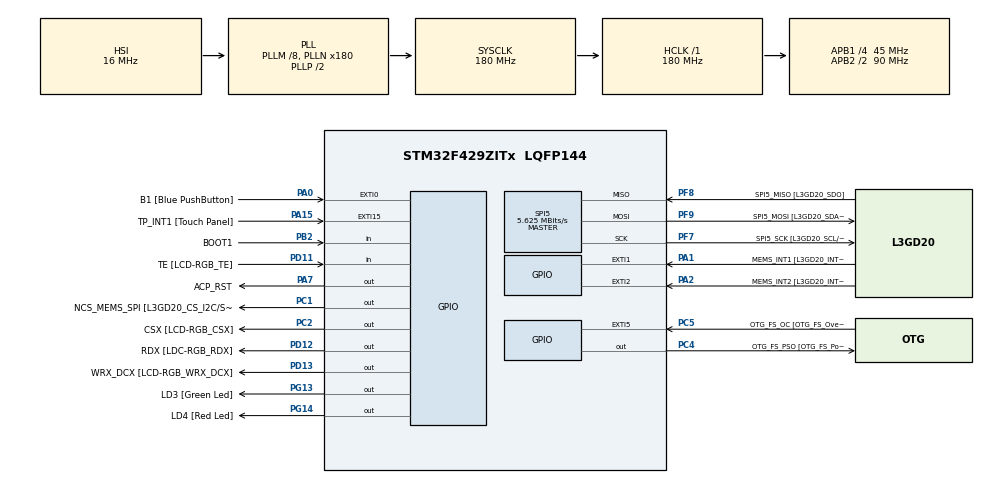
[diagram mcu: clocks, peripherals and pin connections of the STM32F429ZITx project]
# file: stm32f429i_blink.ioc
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Mcu.Family=STM32F4
Mcu.Name=STM32F429ZITx
Mcu.Package=LQFP144
NVIC.EXTI0_IRQn=true\:0\:0\:false\:false\:true\:true\:true\:true
NVIC.PriorityGroup=NVIC_PRIORITYGROUP_0
PA0/WKUP.GPIO_Label=B1 [Blue PushButton]
PA0/WKUP.GPIO_ModeDefaultEXTI=GPIO_MODE_IT_RISING
PA0/WKUP.GPIO_PuPd=GPIO_PULLDOWN
PA0/WKUP.Signal=GPXTI0
PA1.GPIO_Label=MEMS_INT1 [L3GD20_INT1]
PA1.GPIO_ModeDefaultEXTI=GPIO_MODE_EVT_RISING
PA1.GPIO_PuPd=GPIO_NOPULL
PA1.Signal=GPXTI1
PA10.GPIO_Label=STLINK_TX [STM32F103CBT6_PA2]
PA10.Signal=USART1_RX
PA11.GPIO_Label=R4
PA11.GPIO_Mode=GPIO_MODE_AF_PP
PA11.GPIO_PuPd=GPIO_NOPULL
PA11.GPIO_Speed=GPIO_SPEED_FREQ_LOW
PA11.Signal=LTDC_R4
PA12.GPIO_Label=R5
PA12.GPIO_Mode=GPIO_MODE_AF_PP
PA12.GPIO_PuPd=GPIO_NOPULL
PA12.GPIO_Speed=GPIO_SPEED_FREQ_LOW
PA12.Signal=LTDC_R5
PA13.GPIO_Label=SWDIO
PA13.Mode=Serial_Wire
PA13.Signal=SYS_JTMS-SWDIO
PA14.GPIO_Label=SWCLK
PA14.Mode=Serial_Wire
PA14.Signal=SYS_JTCK-SWCLK
PA15.GPIO_Label=TP_INT1 [Touch Panel]
PA15.GPIO_ModeDefaultEXTI=GPIO_MODE_EVT_RISING
PA15.GPIO_PuPd=GPIO_NOPULL
PA15.Signal=GPXTI15
PA2.GPIO_Label=MEMS_INT2 [L3GD20_INT2]
PA2.GPIO_ModeDefaultEXTI=GPIO_MODE_EVT_RISING
PA2.GPIO_PuPd=GPIO_NOPULL
PA2.Signal=GPXTI2
PA3.GPIO_Label=B5
PA3.GPIO_Mode=GPIO_MODE_AF_PP
PA3.GPIO_PuPd=GPIO_NOPULL
PA3.GPIO_Speed=GPIO_SPEED_FREQ_LOW
PA3.Signal=LTDC_B5
PA4.GPIO_Label=VSYNC
PA4.GPIO_Mode=GPIO_MODE_AF_PP
PA4.GPIO_PuPd=GPIO_NOPULL
PA4.GPIO_Speed=GPIO_SPEED_FREQ_LOW
PA4.Signal=LTDC_VSYNC
PA6.GPIO_Label=G2
PA6.GPIO_Mode=GPIO_MODE_AF_PP
PA6.GPIO_PuPd=GPIO_NOPULL
PA6.GPIO_Speed=GPIO_SPEED_FREQ_LOW
PA6.Signal=LTDC_G2
PA7.GPIO_Label=ACP_RST
PA7.GPIO_Mode=GPIO_MODE_OUTPUT_PP
PA7.GPIO_PuPd=GPIO_NOPULL
PA7.GPIO_Speed=GPIO_SPEED_FREQ_LOW
PA7.Signal=GPIO_Output
PA8.GPIO_Label=I2C3_SCL [ACP/RF_SCL]
PA8.GPIO_Mode=GPIO_MODE_AF_OD
PA8.GPIO_PuPd=GPIO_NOPULL
PA8.GPIO_Speed=GPIO_SPEED_FREQ_LOW
PA8.Signal=I2C3_SCL
PA9.GPIO_Label=STLINK_RX [STM32F103CBT6_PA3]
PA9.Signal=USART1_TX
PB0.GPIO_Label=R3
PB0.GPIO_Mode=GPIO_MODE_AF_PP
PB0.GPIO_PuPd=GPIO_NOPULL
PB0.GPIO_Speed=GPIO_SPEED_FREQ_LOW
PB0.Signal=LTDC_R3
PB1.GPIO_Label=R6
PB1.GPIO_Mode=GPIO_MODE_AF_PP
PB1.GPIO_PuPd=GPIO_NOPULL
PB1.GPIO_Speed=GPIO_SPEED_FREQ_LOW
PB1.Signal=LTDC_R6
PB10.GPIO_Label=G4
PB10.GPIO_Mode=GPIO_MODE_AF_PP
PB10.GPIO_PuPd=GPIO_NOPULL
PB10.GPIO_Speed=GPIO_SPEED_FREQ_LOW
PB10.Signal=LTDC_G4
PB11.GPIO_Label=G5
PB11.GPIO_Mode=GPIO_MODE_AF_PP
PB11.GPIO_PuPd=GPIO_NOPULL
PB11.GPIO_Speed=GPIO_SPEED_FREQ_LOW
PB11.Signal=LTDC_G5
PB12.GPIO_Label=OTG_HS_ID
PB12.GPIO_Mode=GPIO_MODE_AF_PP
PB12.GPIO_PuPd=GPIO_NOPULL
PB12.GPIO_Speed=GPIO_SPEED_FREQ_LOW
PB12.Signal=USB_OTG_HS_ID
PB13.GPIO_Label=VBUS_HS
PB13.GPIO_Mode=GPIO_MODE_INPUT
PB13.GPIO_PuPd=GPIO_NOPULL
PB13.Signal=USB_OTG_HS_VBUS
PB14.GPIO_Label=OTG_HS_DM
PB14.GPIO_Mode=GPIO_MODE_AF_PP
PB14.GPIO_PuPd=GPIO_NOPULL
PB14.GPIO_Speed=GPIO_SPEED_FREQ_LOW
PB14.Signal=USB_OTG_HS_DM
PB15.GPIO_Label=OTG_HS_DP
PB15.GPIO_Mode=GPIO_MODE_AF_PP
PB15.GPIO_PuPd=GPIO_NOPULL
PB15.GPIO_Speed=GPIO_SPEED_FREQ_LOW
PB15.Signal=USB_OTG_HS_DP
PB2/BOOT1.GPIO_Label=BOOT1
PB2/BOOT1.GPIO_Mode=GPIO_MODE_INPUT
PB2/BOOT1.GPIO_PuPd=GPIO_NOPULL
PB2/BOOT1.Signal=GPIO_Input
PB5.GPIO_Label=SDCKE1
PB5.GPIO_Mode=GPIO_MODE_AF_PP
PB5.GPIO_PuPd=GPIO_NOPULL
PB5.GPIO_Speed=GPIO_SPEED_FREQ_VERY_HIGH
PB5.Signal=FMC_SDCKE1
PB6.GPIO_Label=SDNE1 [SDRAM_CS]
PB6.GPIO_Mode=GPIO_MODE_AF_PP
PB6.GPIO_PuPd=GPIO_NOPULL
PB6.GPIO_Speed=GPIO_SPEED_FREQ_VERY_HIGH
PB6.Signal=FMC_SDNE1
PB8.GPIO_Label=B6
PB8.GPIO_Mode=GPIO_MODE_AF_PP
PB8.GPIO_PuPd=GPIO_NOPULL
PB8.GPIO_Speed=GPIO_SPEED_FREQ_LOW
PB8.Signal=LTDC_B6
PB9.GPIO_Label=B7
PB9.GPIO_Mode=GPIO_MODE_AF_PP
PB9.GPIO_PuPd=GPIO_NOPULL
PB9.GPIO_Speed=GPIO_SPEED_FREQ_LOW
PB9.Signal=LTDC_B7
PC0.GPIO_Label=SDNWE
PC0.GPIO_Mode=GPIO_MODE_AF_PP
PC0.GPIO_PuPd=GPIO_NOPULL
PC0.GPIO_Speed=GPIO_SPEED_FREQ_VERY_HIGH
PC0.Signal=FMC_SDNWE
PC1.GPIO_Label=NCS_MEMS_SPI [L3GD20_CS_I2C/SPI]
PC1.GPIO_Mode=GPIO_MODE_OUTPUT_PP
PC1.GPIO_PuPd=GPIO_NOPULL
PC1.GPIO_Speed=GPIO_SPEED_FREQ_LOW
PC1.Signal=GPIO_Output
PC10.GPIO_Label=R2
PC10.GPIO_Mode=GPIO_MODE_AF_PP
PC10.GPIO_PuPd=GPIO_NOPULL
PC10.GPIO_Speed=GPIO_SPEED_FREQ_LOW
PC10.Signal=LTDC_R2
PC14/OSC32_IN.GPIO_Label=PC14-OSC32_IN
PC14/OSC32_IN.Signal=RCC_OSC32_IN
PC15/OSC32_OUT.GPIO_Label=PC15-OSC32_OUT
PC15/OSC32_OUT.Signal=RCC_OSC32_OUT
PC2.GPIO_Label=CSX [LCD-RGB_CSX]
PC2.GPIO_Mode=GPIO_MODE_OUTPUT_PP
PC2.GPIO_PuPd=GPIO_NOPULL
PC2.GPIO_Speed=GPIO_SPEED_FREQ_LOW
PC2.Signal=GPIO_Output
PC4.GPIO_Label=OTG_FS_PSO [OTG_FS_PowerSwitchOn]
PC4.GPIO_Mode=GPIO_MODE_OUTPUT_PP
PC4.GPIO_PuPd=GPIO_NOPULL
PC4.GPIO_Speed=GPIO_SPEED_FREQ_LOW
PC4.Signal=GPIO_Output
PC5.GPIO_Label=OTG_FS_OC [OTG_FS_OverCurrent]
PC5.GPIO_ModeDefaultEXTI=GPIO_MODE_EVT_RISING
PC5.Signal=GPXTI5
PC6.GPIO_Label=HSYNC
PC6.GPIO_Mode=GPIO_MODE_AF_PP
PC6.GPIO_PuPd=GPIO_NOPULL
PC6.GPIO_Speed=GPIO_SPEED_FREQ_LOW
PC6.Signal=LTDC_HSYNC
PC7.GPIO_Label=G6
PC7.GPIO_Mode=GPIO_MODE_AF_PP
PC7.GPIO_PuPd=GPIO_NOPULL
PC7.GPIO_Speed=GPIO_SPEED_FREQ_LOW
PC7.Signal=LTDC_G6
PC9.GPIO_Label=I2C3_SDA [ACP/RF_SDA]
PC9.GPIO_Mode=GPIO_MODE_AF_OD
PC9.GPIO_PuPd=GPIO_NOPULL
PC9.GPIO_Speed=GPIO_SPEED_FREQ_LOW
PC9.Signal=I2C3_SDA
PD0.GPIO_Label=D2
PD0.GPIO_Mode=GPIO_MODE_AF_PP
PD0.GPIO_PuPd=GPIO_NOPULL
PD0.GPIO_Speed=GPIO_SPEED_FREQ_VERY_HIGH
PD0.Signal=FMC_D2_DA2
PD1.GPIO_Label=D3
PD1.GPIO_Mode=GPIO_MODE_AF_PP
PD1.GPIO_PuPd=GPIO_NOPULL
PD1.GPIO_Speed=GPIO_SPEED_FREQ_VERY_HIGH
PD1.Signal=FMC_D3_DA3
PD10.GPIO_Label=D15
PD10.GPIO_Mode=GPIO_MODE_AF_PP
PD10.GPIO_PuPd=GPIO_NOPULL
PD10.GPIO_Speed=GPIO_SPEED_FREQ_VERY_HIGH
PD10.Signal=FMC_D15_DA15
PD11.GPIO_Label=TE [LCD-RGB_TE]
PD11.GPIO_Mode=GPIO_MODE_INPUT
PD11.GPIO_PuPd=GPIO_NOPULL
PD11.Signal=GPIO_Input
PD12.GPIO_Label=RDX [LDC-RGB_RDX]
PD12.GPIO_Mode=GPIO_MODE_OUTPUT_PP
PD12.GPIO_PuPd=GPIO_NOPULL
PD12.GPIO_Speed=GPIO_SPEED_FREQ_LOW
PD12.Signal=GPIO_Output
PD13.GPIO_Label=WRX_DCX [LCD-RGB_WRX_DCX]
PD13.GPIO_Mode=GPIO_MODE_OUTPUT_PP
PD13.GPIO_PuPd=GPIO_NOPULL
PD13.GPIO_Speed=GPIO_SPEED_FREQ_LOW
PD13.Signal=GPIO_Output
PD14.GPIO_Label=D0
PD14.GPIO_Mode=GPIO_MODE_AF_PP
PD14.GPIO_PuPd=GPIO_NOPULL
PD14.GPIO_Speed=GPIO_SPEED_FREQ_VERY_HIGH
PD14.Signal=FMC_D0_DA0
PD15.GPIO_Label=D1
PD15.GPIO_Mode=GPIO_MODE_AF_PP
PD15.GPIO_PuPd=GPIO_NOPULL
PD15.GPIO_Speed=GPIO_SPEED_FREQ_VERY_HIGH
PD15.Signal=FMC_D1_DA1
PD3.GPIO_Label=G7
PD3.GPIO_Mode=GPIO_MODE_AF_PP
PD3.GPIO_PuPd=GPIO_NOPULL
PD3.GPIO_Speed=GPIO_SPEED_FREQ_LOW
PD3.Signal=LTDC_G7
PD6.GPIO_Label=B2
PD6.GPIO_Mode=GPIO_MODE_AF_PP
PD6.GPIO_PuPd=GPIO_NOPULL
PD6.GPIO_Speed=GPIO_SPEED_FREQ_LOW
PD6.Signal=LTDC_B2
PD8.GPIO_Label=D13
PD8.GPIO_Mode=GPIO_MODE_AF_PP
PD8.GPIO_PuPd=GPIO_NOPULL
PD8.GPIO_Speed=GPIO_SPEED_FREQ_VERY_HIGH
PD8.Signal=FMC_D13_DA13
PD9.GPIO_Label=D14
PD9.GPIO_Mode=GPIO_MODE_AF_PP
PD9.GPIO_PuPd=GPIO_NOPULL
PD9.GPIO_Speed=GPIO_SPEED_FREQ_VERY_HIGH
PD9.Signal=FMC_D14_DA14
PE0.GPIO_Label=NBL0 [SDRAM_LDQM]
PE0.GPIO_Mode=GPIO_MODE_AF_PP
PE0.GPIO_PuPd=GPIO_NOPULL
PE0.GPIO_Speed=GPIO_SPEED_FREQ_VERY_HIGH
PE0.Signal=FMC_NBL0
PE1.GPIO_Label=NBL1 [SDRAM_UDQM]
PE1.GPIO_Mode=GPIO_MODE_AF_PP
PE1.GPIO_PuPd=GPIO_NOPULL
PE1.GPIO_Speed=GPIO_SPEED_FREQ_VERY_HIGH
PE1.Signal=FMC_NBL1
PE10.GPIO_Label=D7
PE10.GPIO_Mode=GPIO_MODE_AF_PP
PE10.GPIO_PuPd=GPIO_NOPULL
PE10.GPIO_Speed=GPIO_SPEED_FREQ_VERY_HIGH
PE10.Signal=FMC_D7_DA7
PE11.GPIO_Label=D8
PE11.GPIO_Mode=GPIO_MODE_AF_PP
PE11.GPIO_PuPd=GPIO_NOPULL
PE11.GPIO_Speed=GPIO_SPEED_FREQ_VERY_HIGH
PE11.Signal=FMC_D8_DA8
PE12.GPIO_Label=D9
PE12.GPIO_Mode=GPIO_MODE_AF_PP
PE12.GPIO_PuPd=GPIO_NOPULL
PE12.GPIO_Speed=GPIO_SPEED_FREQ_VERY_HIGH
PE12.Signal=FMC_D9_DA9
PE13.GPIO_Label=D10
PE13.GPIO_Mode=GPIO_MODE_AF_PP
PE13.GPIO_PuPd=GPIO_NOPULL
PE13.GPIO_Speed=GPIO_SPEED_FREQ_VERY_HIGH
PE13.Signal=FMC_D10_DA10
PE14.GPIO_Label=D11
PE14.GPIO_Mode=GPIO_MODE_AF_PP
PE14.GPIO_PuPd=GPIO_NOPULL
PE14.GPIO_Speed=GPIO_SPEED_FREQ_VERY_HIGH
PE14.Signal=FMC_D11_DA11
PE15.GPIO_Label=D12
PE15.GPIO_Mode=GPIO_MODE_AF_PP
PE15.GPIO_PuPd=GPIO_NOPULL
PE15.GPIO_Speed=GPIO_SPEED_FREQ_VERY_HIGH
PE15.Signal=FMC_D12_DA12
PE7.GPIO_Label=D4
PE7.GPIO_Mode=GPIO_MODE_AF_PP
PE7.GPIO_PuPd=GPIO_NOPULL
PE7.GPIO_Speed=GPIO_SPEED_FREQ_VERY_HIGH
PE7.Signal=FMC_D4_DA4
PE8.GPIO_Label=D5
PE8.GPIO_Mode=GPIO_MODE_AF_PP
PE8.GPIO_PuPd=GPIO_NOPULL
PE8.GPIO_Speed=GPIO_SPEED_FREQ_VERY_HIGH
PE8.Signal=FMC_D5_DA5
PE9.GPIO_Label=D6
PE9.GPIO_Mode=GPIO_MODE_AF_PP
PE9.GPIO_PuPd=GPIO_NOPULL
PE9.GPIO_Speed=GPIO_SPEED_FREQ_VERY_HIGH
PE9.Signal=FMC_D6_DA6
PF0.GPIO_Label=A0
PF0.GPIO_Mode=GPIO_MODE_AF_PP
PF0.GPIO_PuPd=GPIO_NOPULL
PF0.GPIO_Speed=GPIO_SPEED_FREQ_VERY_HIGH
PF0.Signal=FMC_A0
PF1.GPIO_Label=A1
PF1.GPIO_Mode=GPIO_MODE_AF_PP
PF1.GPIO_PuPd=GPIO_NOPULL
PF1.GPIO_Speed=GPIO_SPEED_FREQ_VERY_HIGH
PF1.Signal=FMC_A1
PF10.GPIO_Label=ENABLE [LCD-RGB_ENABLE]
PF10.GPIO_Mode=GPIO_MODE_AF_PP
PF10.GPIO_PuPd=GPIO_NOPULL
PF10.GPIO_Speed=GPIO_SPEED_FREQ_LOW
PF10.Signal=LTDC_DE
PF11.GPIO_Label=SDNRAS
PF11.GPIO_Mode=GPIO_MODE_AF_PP
PF11.GPIO_PuPd=GPIO_NOPULL
PF11.GPIO_Speed=GPIO_SPEED_FREQ_VERY_HIGH
PF11.Signal=FMC_SDNRAS
PF12.GPIO_Label=A6
PF12.GPIO_Mode=GPIO_MODE_AF_PP
PF12.GPIO_PuPd=GPIO_NOPULL
PF12.GPIO_Speed=GPIO_SPEED_FREQ_VERY_HIGH
PF12.Signal=FMC_A6
PF13.GPIO_Label=A7
PF13.GPIO_Mode=GPIO_MODE_AF_PP
PF13.GPIO_PuPd=GPIO_NOPULL
PF13.GPIO_Speed=GPIO_SPEED_FREQ_VERY_HIGH
PF13.Signal=FMC_A7
PF14.GPIO_Label=A8
PF14.GPIO_Mode=GPIO_MODE_AF_PP
PF14.GPIO_PuPd=GPIO_NOPULL
PF14.GPIO_Speed=GPIO_SPEED_FREQ_VERY_HIGH
PF14.Signal=FMC_A8
PF15.GPIO_Label=A9
PF15.GPIO_Mode=GPIO_MODE_AF_PP
PF15.GPIO_PuPd=GPIO_NOPULL
PF15.GPIO_Speed=GPIO_SPEED_FREQ_VERY_HIGH
PF15.Signal=FMC_A9
PF2.GPIO_Label=A2
PF2.GPIO_Mode=GPIO_MODE_AF_PP
PF2.GPIO_PuPd=GPIO_NOPULL
PF2.GPIO_Speed=GPIO_SPEED_FREQ_VERY_HIGH
PF2.Signal=FMC_A2
PF3.GPIO_Label=A3
PF3.GPIO_Mode=GPIO_MODE_AF_PP
PF3.GPIO_PuPd=GPIO_NOPULL
PF3.GPIO_Speed=GPIO_SPEED_FREQ_VERY_HIGH
PF3.Signal=FMC_A3
PF4.GPIO_Label=A4
PF4.GPIO_Mode=GPIO_MODE_AF_PP
PF4.GPIO_PuPd=GPIO_NOPULL
PF4.GPIO_Speed=GPIO_SPEED_FREQ_VERY_HIGH
PF4.Signal=FMC_A4
PF5.GPIO_Label=A5
PF5.GPIO_Mode=GPIO_MODE_AF_PP
PF5.GPIO_PuPd=GPIO_NOPULL
PF5.GPIO_Speed=GPIO_SPEED_FREQ_VERY_HIGH
PF5.Signal=FMC_A5
PF7.GPIO_Label=SPI5_SCK [L3GD20_SCL/SPC]
PF7.GPIO_Mode=GPIO_MODE_AF_PP
PF7.GPIO_PuPd=GPIO_NOPULL
PF7.GPIO_Speed=GPIO_SPEED_FREQ_LOW
PF7.Mode=Full_Duplex_Master
PF7.Signal=SPI5_SCK
PF8.GPIO_Label=SPI5_MISO [L3GD20_SDO]
PF8.GPIO_Mode=GPIO_MODE_AF_PP
PF8.GPIO_PuPd=GPIO_NOPULL
PF8.GPIO_Speed=GPIO_SPEED_FREQ_LOW
PF8.Mode=Full_Duplex_Master
PF8.Signal=SPI5_MISO
PF9.GPIO_Label=SPI5_MOSI [L3GD20_SDA/SDI/SDO]
PF9.GPIO_Mode=GPIO_MODE_AF_PP
PF9.GPIO_PuPd=GPIO_NOPULL
PF9.GPIO_Speed=GPIO_SPEED_FREQ_LOW
PF9.Mode=Full_Duplex_Master
PF9.Signal=SPI5_MOSI
PG0.GPIO_Label=A10
PG0.GPIO_Mode=GPIO_MODE_AF_PP
PG0.GPIO_PuPd=GPIO_NOPULL
PG0.GPIO_Speed=GPIO_SPEED_FREQ_VERY_HIGH
PG0.Signal=FMC_A10
PG1.GPIO_Label=A11
PG1.GPIO_Mode=GPIO_MODE_AF_PP
PG1.GPIO_PuPd=GPIO_NOPULL
PG1.GPIO_Speed=GPIO_SPEED_FREQ_VERY_HIGH
PG1.Signal=FMC_A11
PG10.GPIO_Label=G3
PG10.GPIO_Mode=GPIO_MODE_AF_PP
PG10.GPIO_PuPd=GPIO_NOPULL
PG10.GPIO_Speed=GPIO_SPEED_FREQ_LOW
PG10.Signal=LTDC_G3
PG11.GPIO_Label=B3
PG11.GPIO_Mode=GPIO_MODE_AF_PP
PG11.GPIO_PuPd=GPIO_NOPULL
PG11.GPIO_Speed=GPIO_SPEED_FREQ_LOW
PG11.Signal=LTDC_B3
PG12.GPIO_Label=B4
PG12.GPIO_Mode=GPIO_MODE_AF_PP
PG12.GPIO_PuPd=GPIO_NOPULL
PG12.GPIO_Speed=GPIO_SPEED_FREQ_LOW
PG12.Signal=LTDC_B4
PG13.GPIO_Label=LD3 [Green Led]
PG13.GPIO_Mode=GPIO_MODE_OUTPUT_PP
PG13.GPIO_PuPd=GPIO_NOPULL
PG13.GPIO_Speed=GPIO_SPEED_FREQ_LOW
PG13.PinState=GPIO_PIN_RESET
PG13.Signal=GPIO_Output
PG14.GPIO_Label=LD4 [Red Led]
PG14.GPIO_Mode=GPIO_MODE_OUTPUT_PP
PG14.GPIO_PuPd=GPIO_NOPULL
PG14.GPIO_Speed=GPIO_SPEED_FREQ_LOW
PG14.Signal=GPIO_Output
PG15.GPIO_Label=SDNCAS
PG15.GPIO_Mode=GPIO_MODE_AF_PP
PG15.GPIO_PuPd=GPIO_NOPULL
PG15.GPIO_Speed=GPIO_SPEED_FREQ_VERY_HIGH
PG15.Signal=FMC_SDNCAS
PG4.GPIO_Label=BA0
PG4.GPIO_Mode=GPIO_MODE_AF_PP
PG4.GPIO_PuPd=GPIO_NOPULL
PG4.GPIO_Speed=GPIO_SPEED_FREQ_VERY_HIGH
PG4.Signal=FMC_A14_BA0
PG5.GPIO_Label=BA1
PG5.GPIO_Mode=GPIO_MODE_AF_PP
PG5.GPIO_PuPd=GPIO_NOPULL
PG5.GPIO_Speed=GPIO_SPEED_FREQ_VERY_HIGH
PG5.Signal=FMC_A15_BA1
PG6.GPIO_Label=R7
PG6.GPIO_Mode=GPIO_MODE_AF_PP
PG6.GPIO_PuPd=GPIO_NOPULL
PG6.GPIO_Speed=GPIO_SPEED_FREQ_LOW
PG6.Signal=LTDC_R7
PG7.GPIO_Label=DOTCLK [LCT-RGB_DOTCLK]
PG7.GPIO_Mode=GPIO_MODE_AF_PP
PG7.GPIO_PuPd=GPIO_NOPULL
PG7.GPIO_Speed=GPIO_SPEED_FREQ_LOW
PG7.Signal=LTDC_CLK
PG8.GPIO_Label=SDCLK
PG8.GPIO_Mode=GPIO_MODE_AF_PP
PG8.GPIO_PuPd=GPIO_NOPULL
PG8.GPIO_Speed=GPIO_SPEED_FREQ_VERY_HIGH
PG8.Signal=FMC_SDCLK
PH0/OSC_IN.GPIO_Label=PH0-OSC_IN
PH0/OSC_IN.Mode=HSE-External-Oscillator
PH0/OSC_IN.Signal=RCC_OSC_IN
PH1/OSC_OUT.GPIO_Label=PH1-OSC_OUT
PH1/OSC_OUT.Mode=HSE-External-Oscillator
PH1/OSC_OUT.Signal=RCC_OSC_OUT
ProjectManager.HeapSize=0x200
ProjectManager.StackSize=0x400
ProjectManager.TargetToolchain=STM32CubeIDE
RCC.48MHZClocksFreq_Value=51428571.428571425
RCC.AHBFreq_Value=180000000
RCC.APB1CLKDivider=RCC_HCLK_DIV4
RCC.APB1Freq_Value=45000000
RCC.APB1TimFreq_Value=90000000
RCC.APB2CLKDivider=RCC_HCLK_DIV2
RCC.APB2Freq_Value=90000000
RCC.APB2TimFreq_Value=180000000
RCC.CortexFreq_Value=180000000
RCC.HCLKFreq_Value=180000000
RCC.HSE_VALUE=8000000
RCC.HSI_VALUE=16000000
RCC.LSE_VALUE=32768
RCC.PLLM=8
RCC.PLLN=180
RCC.PLLQ=7
RCC.SYSCLKFreq_VALUE=180000000
RCC.SYSCLKSource=RCC_SYSCLKSOURCE_PLLCLK
RCC.VCOOutputFreq_Value=360000000
SH.FMC_A0.0=FMC_A0
SH.FMC_A1.0=FMC_A1
SH.FMC_A10.0=FMC_A10
SH.FMC_A11.0=FMC_A11
SH.FMC_A14_BA0.0=FMC_BA0
SH.FMC_A15_BA1.0=FMC_BA1
SH.FMC_A2.0=FMC_A2
SH.FMC_A3.0=FMC_A3
SH.FMC_A4.0=FMC_A4
SH.FMC_A5.0=FMC_A5
SH.FMC_A6.0=FMC_A6
SH.FMC_A7.0=FMC_A7
SH.FMC_A8.0=FMC_A8
SH.FMC_A9.0=FMC_A9
SH.FMC_D0_DA0.0=FMC_D0
SH.FMC_D10_DA10.0=FMC_D10
SH.FMC_D11_DA11.0=FMC_D11
SH.FMC_D12_DA12.0=FMC_D12
SH.FMC_D13_DA13.0=FMC_D13
SH.FMC_D14_DA14.0=FMC_D14
SH.FMC_D15_DA15.0=FMC_D15
SH.FMC_D1_DA1.0=FMC_D1
SH.FMC_D2_DA2.0=FMC_D2
SH.FMC_D3_DA3.0=FMC_D3
SH.FMC_D4_DA4.0=FMC_D4
SH.FMC_D5_DA5.0=FMC_D5
SH.FMC_D6_DA6.0=FMC_D6
SH.FMC_D7_DA7.0=FMC_D7
SH.FMC_D8_DA8.0=FMC_D8
SH.FMC_D9_DA9.0=FMC_D9
SH.FMC_NBL0.0=FMC_NBL0
SH.FMC_NBL1.0=FMC_NBL1
SH.FMC_SDCLK.0=FMC_SDCLK
SH.FMC_SDNCAS.0=FMC_SDNCAS
SH.FMC_SDNRAS.0=FMC_SDNRAS
SH.FMC_SDNWE.0=FMC_SDNWE
SPI5.BaudRatePrescaler=SPI_BAUDRATEPRESCALER_16
SPI5.CLKPhase=SPI_PHASE_2EDGE
SPI5.CalculateBaudRate=5.625 MBits/s
SPI5.Direction=SPI_DIRECTION_2LINES
SPI5.Mode=SPI_MODE_MASTER
SPI5.VirtualType=VM_MASTER
board=STM32F429I-DISC1

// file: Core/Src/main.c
/* USER CODE BEGIN Header */
/**
  ******************************************************************************
  * @file           : main.c
  * @brief          : Main program body
  ******************************************************************************
  * @attention
  *
  * Copyright (c) 2025 STMicroelectronics.
  * All rights reserved.
  *
  * This software is licensed under terms that can be found in the LICENSE file
  * in the root directory of this software component.
  * If no LICENSE file comes with this software, it is provided AS-IS.
  *
  ******************************************************************************
  */
/* USER CODE END Header */
#include "main.h"

/* USER CODE BEGIN Includes */
#include <stdio.h>
#include "I3G4250D.h"

/* USER CODE END Includes */

SPI_HandleTypeDef hspi5;

void SystemClock_Config(void);
static void MX_GPIO_Init(void);
static void MX_SPI5_Init(void);

int main(void)
{

  /* MCU Configuration--------------------------------------------------------*/

  /* Reset of all peripherals, Initializes the Flash interface and the Systick. */
  HAL_Init();

  /* Configure the system clock */
  SystemClock_Config();

  /* Initialize all configured peripherals */
  MX_GPIO_Init();
  MX_SPI5_Init();
  /* USER CODE BEGIN 2 */
  if (!I3G4250D_Init(&hspi5, GPIOC, GPIO_PIN_1)) {
    printf("Erreur : I3G4250D non détecté !\n");
    Error_Handler();
  }

  printf("I3G4250D détecté. Configuration en cours...\n");
  I3G4250D_Configure();

  printf("Hello depuis STM32 via ITM/SWO !\n");

  // Vérification WHO_AM_I
  uint8_t whoami = I3G4250D_ReadWhoAmI();
  printf("WHO_AM_I = 0x%02X (attendu 0xD3)\n", whoami);

  // Pour le clignotement LED + lecture gyro
  uint32_t now = 0, last = 0;

  float gx, gy, gz;

  /* USER CODE END 2 */

  /* Infinite loop */
  while (1)
  {

    /* USER CODE BEGIN 3 */
    now = HAL_GetTick();
    if (now - last >= 1000) // Toggle every second
    {
      last = now;
      HAL_GPIO_TogglePin(LD4_GPIO_Port, LD4_Pin);

      I3G4250D_ReadXYZ_dps(&gx, &gy, &gz);
      printf("Gyro [dps] => X: %.2f | Y: %.2f | Z: %.2f\n", gx, gy, gz);
      // printf("Toggled LD4!\n");
    }

  }
  /* USER CODE END 3 */
}

void SystemClock_Config(void)
{
  RCC_OscInitTypeDef RCC_OscInitStruct = {0};
  RCC_ClkInitTypeDef RCC_ClkInitStruct = {0};

  /** Configure the main internal regulator output voltage
  */
  __HAL_RCC_PWR_CLK_ENABLE();
  __HAL_PWR_VOLTAGESCALING_CONFIG(PWR_REGULATOR_VOLTAGE_SCALE1);

  /** Initializes the RCC Oscillators according to the specified parameters
  * in the RCC_OscInitTypeDef structure.
  */
  RCC_OscInitStruct.OscillatorType = RCC_OSCILLATORTYPE_HSI;
  RCC_OscInitStruct.HSIState = RCC_HSI_ON;
  RCC_OscInitStruct.HSICalibrationValue = RCC_HSICALIBRATION_DEFAULT;
  RCC_OscInitStruct.PLL.PLLState = RCC_PLL_ON;
  RCC_OscInitStruct.PLL.PLLSource = RCC_PLLSOURCE_HSI;
  RCC_OscInitStruct.PLL.PLLM = 8;
  RCC_OscInitStruct.PLL.PLLN = 180;
  RCC_OscInitStruct.PLL.PLLP = RCC_PLLP_DIV2;
  RCC_OscInitStruct.PLL.PLLQ = 7;
  if (HAL_RCC_OscConfig(&RCC_OscInitStruct) != HAL_OK)
  {
    Error_Handler();
  }

  /** Activate the Over-Drive mode
  */
  if (HAL_PWREx_EnableOverDrive() != HAL_OK)
  {
    Error_Handler();
  }

  /** Initializes the CPU, AHB and APB buses clocks
  */
  RCC_ClkInitStruct.ClockType = RCC_CLOCKTYPE_HCLK|RCC_CLOCKTYPE_SYSCLK
                              |RCC_CLOCKTYPE_PCLK1|RCC_CLOCKTYPE_PCLK2;
  RCC_ClkInitStruct.SYSCLKSource = RCC_SYSCLKSOURCE_PLLCLK;
  RCC_ClkInitStruct.AHBCLKDivider = RCC_SYSCLK_DIV1;
  RCC_ClkInitStruct.APB1CLKDivider = RCC_HCLK_DIV4;
  RCC_ClkInitStruct.APB2CLKDivider = RCC_HCLK_DIV2;

  if (HAL_RCC_ClockConfig(&RCC_ClkInitStruct, FLASH_LATENCY_5) != HAL_OK)
  {
    Error_Handler();
  }
}

static void MX_SPI5_Init(void)
{

  /* SPI5 parameter configuration*/
  hspi5.Instance = SPI5;
  hspi5.Init.Mode = SPI_MODE_MASTER;
  hspi5.Init.Direction = SPI_DIRECTION_2LINES;
  hspi5.Init.DataSize = SPI_DATASIZE_8BIT;
  hspi5.Init.CLKPolarity = SPI_POLARITY_LOW;
  hspi5.Init.CLKPhase = SPI_PHASE_2EDGE;
  hspi5.Init.NSS = SPI_NSS_SOFT;
  hspi5.Init.BaudRatePrescaler = SPI_BAUDRATEPRESCALER_16;
  hspi5.Init.FirstBit = SPI_FIRSTBIT_MSB;
  hspi5.Init.TIMode = SPI_TIMODE_DISABLE;
  hspi5.Init.CRCCalculation = SPI_CRCCALCULATION_DISABLE;
  hspi5.Init.CRCPolynomial = 10;
  if (HAL_SPI_Init(&hspi5) != HAL_OK)
  {
    Error_Handler();
  }

}

static void MX_GPIO_Init(void)
{
  GPIO_InitTypeDef GPIO_InitStruct = {0};

  /* GPIO Ports Clock Enable */
  __HAL_RCC_GPIOC_CLK_ENABLE();
  __HAL_RCC_GPIOF_CLK_ENABLE();
  __HAL_RCC_GPIOH_CLK_ENABLE();
  __HAL_RCC_GPIOA_CLK_ENABLE();
  __HAL_RCC_GPIOB_CLK_ENABLE();
  __HAL_RCC_GPIOG_CLK_ENABLE();
  __HAL_RCC_GPIOE_CLK_ENABLE();
  __HAL_RCC_GPIOD_CLK_ENABLE();

  /*Configure GPIO pin Output Level */
  HAL_GPIO_WritePin(GPIOC, NCS_MEMS_SPI_Pin|CSX_Pin|OTG_FS_PSO_Pin, GPIO_PIN_RESET);

  /*Configure GPIO pin Output Level */
  HAL_GPIO_WritePin(ACP_RST_GPIO_Port, ACP_RST_Pin, GPIO_PIN_RESET);

  /*Configure GPIO pin Output Level */
  HAL_GPIO_WritePin(GPIOD, RDX_Pin|WRX_DCX_Pin, GPIO_PIN_RESET);

  /*Configure GPIO pin Output Level */
  HAL_GPIO_WritePin(GPIOG, LD3_Pin|LD4_Pin, GPIO_PIN_RESET);

  /*Configure GPIO pins : A0_Pin A1_Pin A2_Pin A3_Pin
                           A4_Pin A5_Pin SDNRAS_Pin A6_Pin
                           A7_Pin A8_Pin A9_Pin */
  GPIO_InitStruct.Pin = A0_Pin|A1_Pin|A2_Pin|A3_Pin
                          |A4_Pin|A5_Pin|SDNRAS_Pin|A6_Pin
                          |A7_Pin|A8_Pin|A9_Pin;
  GPIO_InitStruct.Mode = GPIO_MODE_AF_PP;
  GPIO_InitStruct.Pull = GPIO_NOPULL;
  GPIO_InitStruct.Speed = GPIO_SPEED_FREQ_VERY_HIGH;
  GPIO_InitStruct.Alternate = GPIO_AF12_FMC;
  HAL_GPIO_Init(GPIOF, &GPIO_InitStruct);

  /*Configure GPIO pin : ENABLE_Pin */
  GPIO_InitStruct.Pin = ENABLE_Pin;
  GPIO_InitStruct.Mode = GPIO_MODE_AF_PP;
  GPIO_InitStruct.Pull = GPIO_NOPULL;
  GPIO_InitStruct.Speed = GPIO_SPEED_FREQ_LOW;
  GPIO_InitStruct.Alternate = GPIO_AF14_LTDC;
  HAL_GPIO_Init(ENABLE_GPIO_Port, &GPIO_InitStruct);

  /*Configure GPIO pin : SDNWE_Pin */
  GPIO_InitStruct.Pin = SDNWE_Pin;
  GPIO_InitStruct.Mode = GPIO_MODE_AF_PP;
  GPIO_InitStruct.Pull = GPIO_NOPULL;
  GPIO_InitStruct.Speed = GPIO_SPEED_FREQ_VERY_HIGH;
  GPIO_InitStruct.Alternate = GPIO_AF12_FMC;
  HAL_GPIO_Init(SDNWE_GPIO_Port, &GPIO_InitStruct);

  /*Configure GPIO pins : NCS_MEMS_SPI_Pin CSX_Pin OTG_FS_PSO_Pin */
  GPIO_InitStruct.Pin = NCS_MEMS_SPI_Pin|CSX_Pin|OTG_FS_PSO_Pin;
  GPIO_InitStruct.Mode = GPIO_MODE_OUTPUT_PP;
  GPIO_InitStruct.Pull = GPIO_NOPULL;
  GPIO_InitStruct.Speed = GPIO_SPEED_FREQ_LOW;
  HAL_GPIO_Init(GPIOC, &GPIO_InitStruct);

  /*Configure GPIO pin : B1_Pin */
  GPIO_InitStruct.Pin = B1_Pin;
  GPIO_InitStruct.Mode = GPIO_MODE_IT_RISING;
  GPIO_InitStruct.Pull = GPIO_PULLDOWN;
  HAL_GPIO_Init(B1_GPIO_Port, &GPIO_InitStruct);

  /*Configure GPIO pins : MEMS_INT1_Pin MEMS_INT2_Pin TP_INT1_Pin */
  GPIO_InitStruct.Pin = MEMS_INT1_Pin|MEMS_INT2_Pin|TP_INT1_Pin;
  GPIO_InitStruct.Mode = GPIO_MODE_EVT_RISING;
  GPIO_InitStruct.Pull = GPIO_NOPULL;
  HAL_GPIO_Init(GPIOA, &GPIO_InitStruct);

  /*Configure GPIO pins : B5_Pin VSYNC_Pin G2_Pin R4_Pin
                           R5_Pin */
  GPIO_InitStruct.Pin = B5_Pin|VSYNC_Pin|G2_Pin|R4_Pin
                          |R5_Pin;
  GPIO_InitStruct.Mode = GPIO_MODE_AF_PP;
  GPIO_InitStruct.Pull = GPIO_NOPULL;
  GPIO_InitStruct.Speed = GPIO_SPEED_FREQ_LOW;
  GPIO_InitStruct.Alternate = GPIO_AF14_LTDC;
  HAL_GPIO_Init(GPIOA, &GPIO_InitStruct);

  /*Configure GPIO pin : ACP_RST_Pin */
  GPIO_InitStruct.Pin = ACP_RST_Pin;
  GPIO_InitStruct.Mode = GPIO_MODE_OUTPUT_PP;
  GPIO_InitStruct.Pull = GPIO_NOPULL;
  GPIO_InitStruct.Speed = GPIO_SPEED_FREQ_LOW;
  HAL_GPIO_Init(ACP_RST_GPIO_Port, &GPIO_InitStruct);

  /*Configure GPIO pin : OTG_FS_OC_Pin */
  GPIO_InitStruct.Pin = OTG_FS_OC_Pin;
  GPIO_InitStruct.Mode = GPIO_MODE_EVT_RISING;
  GPIO_InitStruct.Pull = GPIO_NOPULL;
  HAL_GPIO_Init(OTG_FS_OC_GPIO_Port, &GPIO_InitStruct);

  /*Configure GPIO pins : R3_Pin R6_Pin */
  GPIO_InitStruct.Pin = R3_Pin|R6_Pin;
  GPIO_InitStruct.Mode = GPIO_MODE_AF_PP;
  GPIO_InitStruct.Pull = GPIO_NOPULL;
  GPIO_InitStruct.Speed = GPIO_SPEED_FREQ_LOW;
  GPIO_InitStruct.Alternate = GPIO_AF9_LTDC;
  HAL_GPIO_Init(GPIOB, &GPIO_InitStruct);

  /*Configure GPIO pin : BOOT1_Pin */
  GPIO_InitStruct.Pin = BOOT1_Pin;
  GPIO_InitStruct.Mode = GPIO_MODE_INPUT;
  GPIO_InitStruct.Pull = GPIO_NOPULL;
  HAL_GPIO_Init(BOOT1_GPIO_Port, &GPIO_InitStruct);

  /*Configure GPIO pins : A10_Pin A11_Pin BA0_Pin BA1_Pin
                           SDCLK_Pin SDNCAS_Pin */
  GPIO_InitStruct.Pin = A10_Pin|A11_Pin|BA0_Pin|BA1_Pin
                          |SDCLK_Pin|SDNCAS_Pin;
  GPIO_InitStruct.Mode = GPIO_MODE_AF_PP;
  GPIO_InitStruct.Pull = GPIO_NOPULL;
  GPIO_InitStruct.Speed = GPIO_SPEED_FREQ_VERY_HIGH;
  GPIO_InitStruct.Alternate = GPIO_AF12_FMC;
  HAL_GPIO_Init(GPIOG, &GPIO_InitStruct);

  /*Configure GPIO pins : D4_Pin D5_Pin D6_Pin D7_Pin
                           D8_Pin D9_Pin D10_Pin D11_Pin
                           D12_Pin NBL0_Pin NBL1_Pin */
  GPIO_InitStruct.Pin = D4_Pin|D5_Pin|D6_Pin|D7_Pin
                          |D8_Pin|D9_Pin|D10_Pin|D11_Pin
                          |D12_Pin|NBL0_Pin|NBL1_Pin;
  GPIO_InitStruct.Mode = GPIO_MODE_AF_PP;
  GPIO_InitStruct.Pull = GPIO_NOPULL;
  GPIO_InitStruct.Speed = GPIO_SPEED_FREQ_VERY_HIGH;
  GPIO_InitStruct.Alternate = GPIO_AF12_FMC;
  HAL_GPIO_Init(GPIOE, &GPIO_InitStruct);

  /*Configure GPIO pins : G4_Pin G5_Pin B6_Pin B7_Pin */
  GPIO_InitStruct.Pin = G4_Pin|G5_Pin|B6_Pin|B7_Pin;
  GPIO_InitStruct.Mode = GPIO_MODE_AF_PP;
  GPIO_InitStruct.Pull = GPIO_NOPULL;
  GPIO_InitStruct.Speed = GPIO_SPEED_FREQ_LOW;
  GPIO_InitStruct.Alternate = GPIO_AF14_LTDC;
  HAL_GPIO_Init(GPIOB, &GPIO_InitStruct);

  /*Configure GPIO pins : OTG_HS_ID_Pin OTG_HS_DM_Pin OTG_HS_DP_Pin */
  GPIO_InitStruct.Pin = OTG_HS_ID_Pin|OTG_HS_DM_Pin|OTG_HS_DP_Pin;
  GPIO_InitStruct.Mode = GPIO_MODE_AF_PP;
  GPIO_InitStruct.Pull = GPIO_NOPULL;
  GPIO_InitStruct.Speed = GPIO_SPEED_FREQ_LOW;
  GPIO_InitStruct.Alternate = GPIO_AF12_OTG_HS_FS;
  HAL_GPIO_Init(GPIOB, &GPIO_InitStruct);

  /*Configure GPIO pin : VBUS_HS_Pin */
  GPIO_InitStruct.Pin = VBUS_HS_Pin;
  GPIO_InitStruct.Mode = GPIO_MODE_INPUT;
  GPIO_InitStruct.Pull = GPIO_NOPULL;
  HAL_GPIO_Init(VBUS_HS_GPIO_Port, &GPIO_InitStruct);

  /*Configure GPIO pins : D13_Pin D14_Pin D15_Pin D0_Pin
                           D1_Pin D2_Pin D3_Pin */
  GPIO_InitStruct.Pin = D13_Pin|D14_Pin|D15_Pin|D0_Pin
                          |D1_Pin|D2_Pin|D3_Pin;
  GPIO_InitStruct.Mode = GPIO_MODE_AF_PP;
  GPIO_InitStruct.Pull = GPIO_NOPULL;
  GPIO_InitStruct.Speed = GPIO_SPEED_FREQ_VERY_HIGH;
  GPIO_InitStruct.Alternate = GPIO_AF12_FMC;
  HAL_GPIO_Init(GPIOD, &GPIO_InitStruct);

  /*Configure GPIO pin : TE_Pin */
  GPIO_InitStruct.Pin = TE_Pin;
  GPIO_InitStruct.Mode = GPIO_MODE_INPUT;
  GPIO_InitStruct.Pull = GPIO_NOPULL;
  HAL_GPIO_Init(TE_GPIO_Port, &GPIO_InitStruct);

  /*Configure GPIO pins : RDX_Pin WRX_DCX_Pin */
  GPIO_InitStruct.Pin = RDX_Pin|WRX_DCX_Pin;
  GPIO_InitStruct.Mode = GPIO_MODE_OUTPUT_PP;
  GPIO_InitStruct.Pull = GPIO_NOPULL;
  GPIO_InitStruct.Speed = GPIO_SPEED_FREQ_LOW;
  HAL_GPIO_Init(GPIOD, &GPIO_InitStruct);

  /*Configure GPIO pins : R7_Pin DOTCLK_Pin B3_Pin */
  GPIO_InitStruct.Pin = R7_Pin|DOTCLK_Pin|B3_Pin;
  GPIO_InitStruct.Mode = GPIO_MODE_AF_PP;
  GPIO_InitStruct.Pull = GPIO_NOPULL;
  GPIO_InitStruct.Speed = GPIO_SPEED_FREQ_LOW;
  GPIO_InitStruct.Alternate = GPIO_AF14_LTDC;
  HAL_GPIO_Init(GPIOG, &GPIO_InitStruct);

  /*Configure GPIO pins : HSYNC_Pin G6_Pin R2_Pin */
  GPIO_InitStruct.Pin = HSYNC_Pin|G6_Pin|R2_Pin;
  GPIO_InitStruct.Mode = GPIO_MODE_AF_PP;
  GPIO_InitStruct.Pull = GPIO_NOPULL;
  GPIO_InitStruct.Speed = GPIO_SPEED_FREQ_LOW;
  GPIO_InitStruct.Alternate = GPIO_AF14_LTDC;
  HAL_GPIO_Init(GPIOC, &GPIO_InitStruct);

  /*Configure GPIO pin : I2C3_SDA_Pin */
  GPIO_InitStruct.Pin = I2C3_SDA_Pin;
  GPIO_InitStruct.Mode = GPIO_MODE_AF_OD;
  GPIO_InitStruct.Pull = GPIO_NOPULL;
  GPIO_InitStruct.Speed = GPIO_SPEED_FREQ_LOW;
  GPIO_InitStruct.Alternate = GPIO_AF4_I2C3;
  HAL_GPIO_Init(I2C3_SDA_GPIO_Port, &GPIO_InitStruct);

  /*Configure GPIO pin : I2C3_SCL_Pin */
  GPIO_InitStruct.Pin = I2C3_SCL_Pin;
  GPIO_InitStruct.Mode = GPIO_MODE_AF_OD;
  GPIO_InitStruct.Pull = GPIO_NOPULL;
  GPIO_InitStruct.Speed = GPIO_SPEED_FREQ_LOW;
  GPIO_InitStruct.Alternate = GPIO_AF4_I2C3;
  HAL_GPIO_Init(I2C3_SCL_GPIO_Port, &GPIO_InitStruct);

  /*Configure GPIO pins : STLINK_RX_Pin STLINK_TX_Pin */
  GPIO_InitStruct.Pin = STLINK_RX_Pin|STLINK_TX_Pin;
  GPIO_InitStruct.Mode = GPIO_MODE_AF_PP;
  GPIO_InitStruct.Pull = GPIO_NOPULL;
  GPIO_InitStruct.Speed = GPIO_SPEED_FREQ_VERY_HIGH;
  GPIO_InitStruct.Alternate = GPIO_AF7_USART1;
  HAL_GPIO_Init(GPIOA, &GPIO_InitStruct);

  /*Configure GPIO pins : G7_Pin B2_Pin */
  GPIO_InitStruct.Pin = G7_Pin|B2_Pin;
  GPIO_InitStruct.Mode = GPIO_MODE_AF_PP;
  GPIO_InitStruct.Pull = GPIO_NOPULL;
  GPIO_InitStruct.Speed = GPIO_SPEED_FREQ_LOW;
  GPIO_InitStruct.Alternate = GPIO_AF14_LTDC;
  HAL_GPIO_Init(GPIOD, &GPIO_InitStruct);

  /*Configure GPIO pins : G3_Pin B4_Pin */
  GPIO_InitStruct.Pin = G3_Pin|B4_Pin;
  GPIO_InitStruct.Mode = GPIO_MODE_AF_PP;
  GPIO_InitStruct.Pull = GPIO_NOPULL;
  GPIO_InitStruct.Speed = GPIO_SPEED_FREQ_LOW;
  GPIO_InitStruct.Alternate = GPIO_AF9_LTDC;
  HAL_GPIO_Init(GPIOG, &GPIO_InitStruct);

  /*Configure GPIO pins : LD3_Pin LD4_Pin */
  GPIO_InitStruct.Pin = LD3_Pin|LD4_Pin;
  GPIO_InitStruct.Mode = GPIO_MODE_OUTPUT_PP;
  GPIO_InitStruct.Pull = GPIO_NOPULL;
  GPIO_InitStruct.Speed = GPIO_SPEED_FREQ_LOW;
  HAL_GPIO_Init(GPIOG, &GPIO_InitStruct);

  /*Configure GPIO pins : SDCKE1_Pin SDNE1_Pin */
  GPIO_InitStruct.Pin = SDCKE1_Pin|SDNE1_Pin;
  GPIO_InitStruct.Mode = GPIO_MODE_AF_PP;
  GPIO_InitStruct.Pull = GPIO_NOPULL;
  GPIO_InitStruct.Speed = GPIO_SPEED_FREQ_VERY_HIGH;
  GPIO_InitStruct.Alternate = GPIO_AF12_FMC;
  HAL_GPIO_Init(GPIOB, &GPIO_InitStruct);

  /* EXTI interrupt init*/
  HAL_NVIC_SetPriority(EXTI0_IRQn, 0, 0);
  HAL_NVIC_EnableIRQ(EXTI0_IRQn);

}

/* USER CODE BEGIN 4 */
void HAL_GPIO_EXTI_Callback(uint16_t GPIO_Pin)
{
  if (GPIO_Pin == B1_Pin)
  {
    HAL_GPIO_TogglePin(LD3_GPIO_Port, LD3_Pin);
    printf("Button pressed, toggling LD3!\n");
  }
}

/* USER CODE END 4 */

void Error_Handler(void)
{
  __disable_irq();
  while (1)
  {
  }
}
